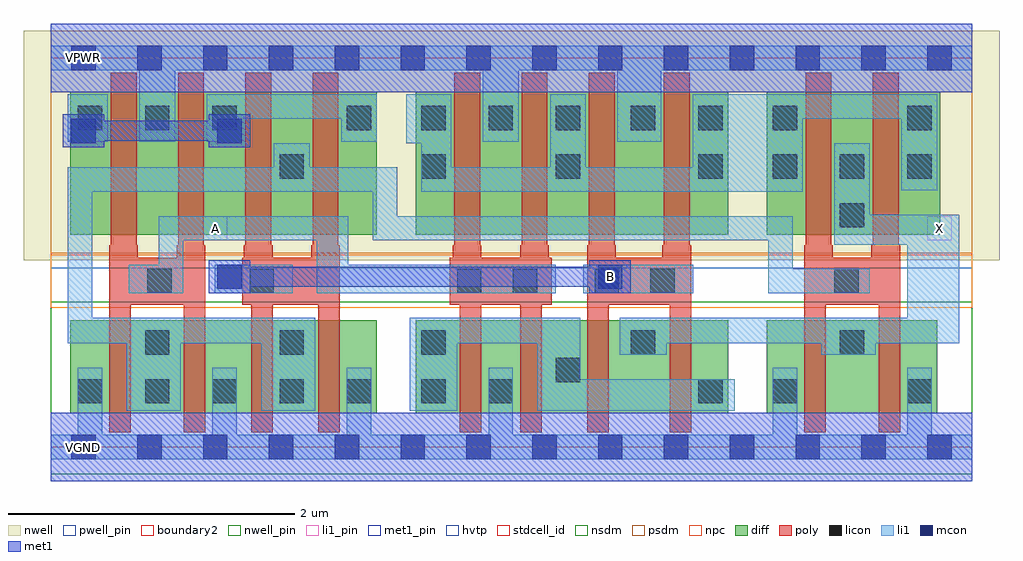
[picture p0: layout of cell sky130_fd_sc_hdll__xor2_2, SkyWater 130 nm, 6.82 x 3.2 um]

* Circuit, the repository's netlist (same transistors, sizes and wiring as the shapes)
* Copyright 2020 The SkyWater PDK Authors
*
* Licensed under the Apache License, Version 2.0 (the "License");
* you may not use this file except in compliance with the License.
* You may obtain a copy of the License at
*
*     https://www.apache.org/licenses/LICENSE-2.0
*
* Unless required by applicable law or agreed to in writing, software
* distributed under the License is distributed on an "AS IS" BASIS,
* WITHOUT WARRANTIES OR CONDITIONS OF ANY KIND, either express or implied.
* See the License for the specific language governing permissions and
* limitations under the License.
*
* SPDX-License-Identifier: Apache-2.0

.SUBCKT sky130_fd_sc_hdll__xor2_2 A B VGND VNB VPB VPWR X
*.PININFO A:I B:I VGND:I VNB:I VPB:I VPWR:I X:O
MMNnor0 inor A VGND VNB sky130_fd_pr__nfet_01v8 m=2 w=0.65U l=0.15U mult=1 sa=0.265
+ sb=0.265 sd=0.28 area=0.063 perim=1.14
MMNnor1 inor B VGND VNB sky130_fd_pr__nfet_01v8 m=2 w=0.65U l=0.15U mult=1 sa=0.265
+ sb=0.265 sd=0.28 area=0.063 perim=1.14
MMNaoi10 VGND A sndNA VNB sky130_fd_pr__nfet_01v8 m=2 w=0.65U l=0.15U mult=1 sa=0.265
+ sb=0.265 sd=0.28 area=0.063 perim=1.14
MMNaoi11 sndNA B X VNB sky130_fd_pr__nfet_01v8 m=2 w=0.65U l=0.15U mult=1 sa=0.265
+ sb=0.265 sd=0.28 area=0.063 perim=1.14
MMNaoi20 X inor VGND VNB sky130_fd_pr__nfet_01v8 m=2 w=0.65U l=0.15U mult=1 sa=0.265
+ sb=0.265 sd=0.28 area=0.063 perim=1.14
MMPnor0 VPWR A sndPA VPB sky130_fd_pr__pfet_01v8_hvt m=2 w=1.0U l=0.18U mult=1
+ sa=0.265 sb=0.265 sd=0.28 area=0.063 perim=1.14
MMPnor1 sndPA B inor VPB sky130_fd_pr__pfet_01v8_hvt m=2 w=1.0U l=0.18U mult=1
+ sa=0.265 sb=0.265 sd=0.28 area=0.063 perim=1.14
MMPaoi10 pmid A VPWR VPB sky130_fd_pr__pfet_01v8_hvt m=2 w=1.0U l=0.18U mult=1
+ sa=0.265 sb=0.265 sd=0.28 area=0.063 perim=1.14
MMPaoi11 pmid B VPWR VPB sky130_fd_pr__pfet_01v8_hvt m=2 w=1.0U l=0.18U mult=1
+ sa=0.265 sb=0.265 sd=0.28 area=0.063 perim=1.14
MMPaoi20 X inor pmid VPB sky130_fd_pr__pfet_01v8_hvt m=2 w=1.0U l=0.18U mult=1
+ sa=0.265 sb=0.265 sd=0.28 area=0.063 perim=1.14
.ENDS sky130_fd_sc_hdll__xor2_2

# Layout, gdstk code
import gdstk
lib = gdstk.Library(unit=1e-6, precision=1e-09)
def R(c, l, rs):  # rectangles x0, y0, x1, y1
    for r in rs: c.add(gdstk.rectangle(r[:2], r[2:], *l))
def A(c, l, x, y, w, h, nx, ny, dx, dy):  # array of equal rectangles
    R(c, l, [(x+i*dx, y+j*dy, x+i*dx+w, y+j*dy+h) for i in range(nx) for j in range(ny)])
def P(c, l, *ps):  # polygons
    for p in ps: c.add(gdstk.Polygon(p, *l))
nwell_pin = (64, 16)
nwell = (64, 20)
diff = (65, 20)
poly = (66, 20)
licon = (66, 44)
li1_pin = (67, 16)
li1 = (67, 20)
mcon = (67, 44)
met1_pin = (68, 16)
met1 = (68, 20)
hvtp = (78, 44)
stdcell_id = (81, 4)
nsdm = (93, 44)
psdm = (94, 20)
npc = (95, 20)
pwell_pin = (122, 16)
boundary2 = (236, 0)

sky130_fd_sc_hdll__xor2_ = lib.new_cell('sky130_fd_sc_hdll__xor2_2')
R(sky130_fd_sc_hdll__xor2_, nwell_pin, [(0.145,2.635,0.315,2.805)])
R(sky130_fd_sc_hdll__xor2_, nwell, [(-0.19,1.305,6.63,2.91)])
R(sky130_fd_sc_hdll__xor2_, diff, [(0.135,0.235,2.28,0.885), (2.55,0.235,4.735,0.885), (5.005,0.235,6.195,0.885), (0.135,1.485,2.28,2.485), (2.55,1.485,4.735,2.485), (5.005,1.485,6.215,2.485)])
P(sky130_fd_sc_hdll__xor2_, poly, [(1.08,1.41),(1.07,1.41),(1.07,2.615),(0.89,2.615),(0.89,1.41),(0.88,1.41),(0.88,1.325),(0.61,1.325),(0.61,1.41),(0.6,1.41),(0.6,2.615),(0.42,2.615),(0.42,1.41),(0.41,1.41),(0.41,0.105),(0.56,0.105),(0.56,0.995),(0.93,0.995),(0.93,0.105),(1.08,0.105)],
  [(2.02,1.41),(2.01,1.41),(2.01,2.615),(1.83,2.615),(1.83,1.41),(1.82,1.41),(1.82,1.325),(1.55,1.325),(1.55,1.41),(1.54,1.41),(1.54,2.615),(1.36,2.615),(1.36,1.41),(1.35,1.41),(1.35,1.325),(1.34,1.325),(1.34,0.995),(1.4,0.995),(1.4,0.105),(1.55,0.105),(1.55,0.995),(1.87,0.995),(1.87,0.105),(2.02,0.105)],
  [(3.5,1.325),(3.48,1.325),(3.48,1.41),(3.47,1.41),(3.47,2.615),(3.29,2.615),(3.29,1.41),(3.28,1.41),(3.28,1.325),(3.01,1.325),(3.01,1.41),(3,1.41),(3,2.615),(2.82,2.615),(2.82,1.41),(2.81,1.41),(2.81,1.325),(2.79,1.325),(2.79,0.995),(2.86,0.995),(2.86,0.105),(3.01,0.105),(3.01,0.995),(3.28,0.995),(3.28,0.105),(3.43,0.105),(3.43,0.995),(3.5,0.995)],
  [(4.475,1.41),(4.465,1.41),(4.465,2.615),(4.285,2.615),(4.285,1.41),(4.275,1.41),(4.275,1.325),(3.95,1.325),(3.95,1.41),(3.94,1.41),(3.94,2.615),(3.76,2.615),(3.76,1.41),(3.75,1.41),(3.75,0.105),(3.9,0.105),(3.9,0.995),(4.325,0.995),(4.325,0.105),(4.475,0.105)],
  [(5.935,1.41),(5.925,1.41),(5.925,2.615),(5.745,2.615),(5.745,1.41),(5.735,1.41),(5.735,1.325),(5.465,1.325),(5.465,1.41),(5.455,1.41),(5.455,2.615),(5.275,2.615),(5.275,1.41),(5.265,1.41),(5.265,0.105),(5.415,0.105),(5.415,0.995),(5.785,0.995),(5.785,0.105),(5.935,0.105)])
A(sky130_fd_sc_hdll__xor2_, licon, 0.19, 0.305, 0.17, 0.17, 5, 1, 0.47, 0)
A(sky130_fd_sc_hdll__xor2_, licon, 5.045, 1.875, 0.17, 0.17, 3, 1, 0.47, 0)
A(sky130_fd_sc_hdll__xor2_, licon, 0.19, 2.215, 0.17, 0.17, 3, 1, 0.47, 0)
A(sky130_fd_sc_hdll__xor2_, licon, 2.59, 2.215, 0.17, 0.17, 3, 1, 0.47, 0)
R(sky130_fd_sc_hdll__xor2_, licon, [(2.59,0.305,2.76,0.475), (3.06,0.305,3.23,0.475), (4.525,0.305,4.695,0.475), (5.045,0.305,5.215,0.475), (5.985,0.305,6.155,0.475), (3.53,0.455,3.7,0.625), (0.66,0.645,0.83,0.815), (1.6,0.645,1.77,0.815), (2.59,0.645,2.76,0.815), (4.055,0.645,4.225,0.815), (5.515,0.645,5.685,0.815), (0.675,1.075,0.845,1.245), (1.39,1.075,1.56,1.245), (2.84,1.075,3.01,1.245), (3.23,1.075,3.4,1.245), (3.8,1.075,3.97,1.245), (4.19,1.075,4.36,1.245), (5.475,1.075,5.645,1.245), (5.515,1.535,5.685,1.705), (1.6,1.875,1.77,2.045), (2.59,1.875,2.76,2.045), (3.53,1.875,3.7,2.045), (4.525,1.875,4.695,2.045), (2.07,2.215,2.24,2.385), (4.055,2.215,4.225,2.385), (4.525,2.215,4.695,2.385), (5.045,2.215,5.215,2.385), (5.985,2.215,6.155,2.385)])
R(sky130_fd_sc_hdll__xor2_, li1_pin, [(1.065,1.445,1.235,1.615), (6.125,1.445,6.295,1.615)])
R(sky130_fd_sc_hdll__xor2_, li1, [(1.145,1.075,1.69,1.275), (3.72,1.075,4.49,1.275)])
P(sky130_fd_sc_hdll__xor2_, li1, [(6.195,2.465),(4.485,2.465),(4.485,1.955),(3.74,1.955),(3.74,2.465),(3.49,2.465),(3.49,1.955),(2.8,1.955),(2.8,2.465),(2.485,2.465),(2.485,2.125),(2.59,2.125),(2.59,1.785),(5.255,1.785),(5.255,2.295),(5.945,2.295),(5.945,1.795),(6.195,1.795)],
  [(5.725,1.245),(5.185,1.245),(5.185,1.615),(2.42,1.615),(2.42,1.955),(1.81,1.955),(1.81,2.125),(1.56,2.125),(1.56,1.955),(0.12,1.955),(0.12,0.725),(0.53,0.725),(0.53,0.255),(0.91,0.255),(0.91,0.725),(1.47,0.725),(1.47,0.255),(1.85,0.255),(1.85,0.905),(0.29,0.905),(0.29,1.785),(2.25,1.785),(2.25,1.445),(5.015,1.445),(5.015,1.075),(5.725,1.075)],
  [(4.78,0.475),(3.7,0.475),(3.7,0.905),(2.51,0.905),(2.51,0.255),(2.84,0.255),(2.84,0.725),(3.4,0.725),(3.4,0.255),(4.78,0.255)],
  [(6.44,0.085),(6.155,0.085),(6.155,0.555),(5.985,0.555),(5.985,0.085),(5.215,0.085),(5.215,0.555),(5.045,0.555),(5.045,0.085),(3.23,0.085),(3.23,0.555),(3.06,0.555),(3.06,0.085),(2.24,0.085),(2.24,0.555),(2.07,0.555),(2.07,0.085),(1.3,0.085),(1.3,0.555),(1.13,0.555),(1.13,0.085),(0.36,0.085),(0.36,0.555),(0.19,0.555),(0.19,0.085),(0,0.085),(0,-0.085),(6.44,-0.085)],
  [(3.53,1.275),(2.08,1.275),(2.08,1.615),(0.755,1.615),(0.755,1.275),(0.545,1.275),(0.545,1.075),(0.925,1.075),(0.925,1.445),(1.86,1.445),(1.86,1.075),(3.53,1.075)],
  [(2.28,2.465),(1.09,2.465),(1.09,2.135),(1.165,2.135),(1.165,2.125),(1.335,2.125),(1.335,2.135),(1.34,2.135),(1.34,2.295),(2.03,2.295),(2.03,2.135),(2.28,2.135)],
  [(0.4,2.465),(0.12,2.465),(0.12,2.135),(0.145,2.135),(0.145,2.125),(0.315,2.125),(0.315,2.135),(0.4,2.135)],
  [(6.35,1.625),(5.725,1.625),(5.725,2.125),(5.475,2.125),(5.475,1.415),(5.985,1.415),(5.985,0.905),(3.975,0.905),(3.975,0.645),(4.305,0.645),(4.305,0.725),(5.385,0.725),(5.385,0.645),(5.765,0.645),(5.765,0.725),(6.35,0.725)],
  [(6.44,2.805),(0,2.805),(0,2.635),(0.62,2.635),(0.62,2.135),(0.87,2.135),(0.87,2.635),(3.02,2.635),(3.02,2.135),(3.27,2.135),(3.27,2.635),(3.96,2.635),(3.96,2.135),(4.265,2.135),(4.265,2.635),(6.44,2.635)])
A(sky130_fd_sc_hdll__xor2_, mcon, 0.145, -0.085, 0.17, 0.17, 14, 2, 0.46, 2.72)
R(sky130_fd_sc_hdll__xor2_, mcon, [(1.165,1.105,1.335,1.275), (3.825,1.105,3.995,1.275), (0.145,2.125,0.315,2.295), (1.165,2.125,1.335,2.295)])
R(sky130_fd_sc_hdll__xor2_, met1_pin, [(0.145,-0.085,0.315,0.085), (3.825,1.105,3.995,1.275), (0.145,2.635,0.315,2.805)])
R(sky130_fd_sc_hdll__xor2_, met1, [(0,-0.24,6.44,0.24), (0,2.48,6.44,2.96)])
P(sky130_fd_sc_hdll__xor2_, met1, [(4.055,1.305),(3.765,1.305),(3.765,1.26),(1.395,1.26),(1.395,1.305),(1.105,1.305),(1.105,1.075),(1.395,1.075),(1.395,1.12),(3.765,1.12),(3.765,1.075),(4.055,1.075)],
  [(1.395,2.325),(1.105,2.325),(1.105,2.28),(0.375,2.28),(0.375,2.325),(0.085,2.325),(0.085,2.095),(0.375,2.095),(0.375,2.14),(1.105,2.14),(1.105,2.095),(1.395,2.095)])
R(sky130_fd_sc_hdll__xor2_, hvtp, [(0,1.25,6.44,2.72)])
R(sky130_fd_sc_hdll__xor2_, stdcell_id, [(0,0,6.44,2.72)])
R(sky130_fd_sc_hdll__xor2_, nsdm, [(0,-0.19,6.44,1.015)])
R(sky130_fd_sc_hdll__xor2_, psdm, [(0,1.355,6.44,2.91)])
R(sky130_fd_sc_hdll__xor2_, npc, [(0,0.975,6.44,1.345)])
R(sky130_fd_sc_hdll__xor2_, pwell_pin, [(0.145,-0.085,0.315,0.085)])
R(sky130_fd_sc_hdll__xor2_, boundary2, [(0,0,6.44,2.72)])
sky130_fd_sc_hdll__xor2_.add(gdstk.Label('B', (3.91,1.19), layer=68, texttype=5))
sky130_fd_sc_hdll__xor2_.add(gdstk.Label('VPWR', (0.23,2.72), layer=68, texttype=5))
sky130_fd_sc_hdll__xor2_.add(gdstk.Label('VGND', (0.23,0), layer=68, texttype=5))
sky130_fd_sc_hdll__xor2_.add(gdstk.Label('X', (6.21,1.53), layer=67, texttype=5))
sky130_fd_sc_hdll__xor2_.add(gdstk.Label('A', (1.15,1.53), layer=67, texttype=5))
sky130_fd_sc_hdll__xor2_.add(gdstk.Label('VPB', (0.23,2.72), layer=64, texttype=5))
sky130_fd_sc_hdll__xor2_.add(gdstk.Label('VNB', (0.23,0), layer=64, texttype=59))
sky130_fd_sc_hdll__xor2_.add(gdstk.Label('xor2_2', (0,0), layer=83, texttype=44))

lib.write_gds('sky130_fd_sc_hdll__xor2_2.gds')
